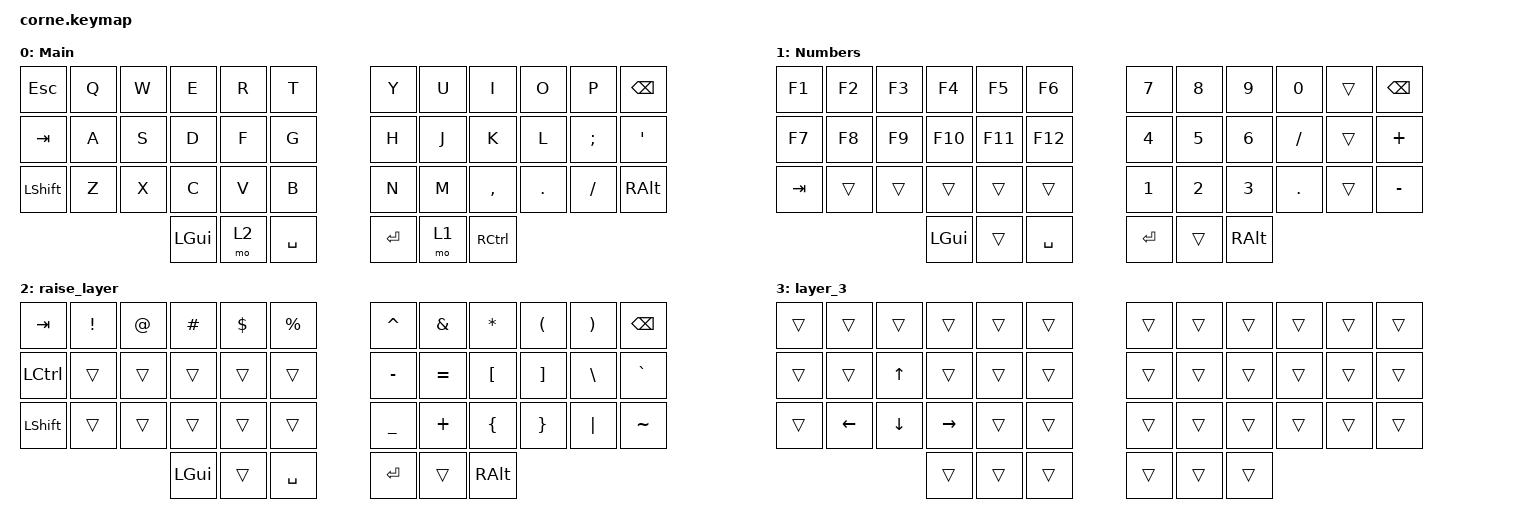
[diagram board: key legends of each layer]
/*
 * Copyright (c) 2020 The ZMK Contributors
 *
 * SPDX-License-Identifier: MIT
 */

#include <behaviors.dtsi>
#include <dt-bindings/zmk/keys.h>

/ {
    keymap {
        compatible = "zmk,keymap";

        Main {
            // -----------------------------------------------------------------------------------------
            // |  TAB |  Q  |  W  |  E  |  R  |  T  |   |  Y  |  U   |  I  |  O  |  P  | BSPC |
            // | CTRL |  A  |  S  |  D  |  F  |  G  |   |  H  |  J   |  K  |  L  |  ;  |  '   |
            // | SHFT |  Z  |  X  |  C  |  V  |  B  |   |  N  |  M   |  ,  |  .  |  /  | ESC  |
            //                    | GUI | LWR | SPC |   | ENT | RSE  | ALT |

            bindings = <
&kp ESCAPE  &kp Q  &kp W  &kp E     &kp R  &kp T        &kp Y    &kp U  &kp I              &kp O    &kp P     &kp BSPC
&kp TAB     &kp A  &kp S  &kp D     &kp F  &kp G        &kp H    &kp J  &kp K              &kp L    &kp SEMI  &kp SQT
&kp LSHFT   &kp Z  &kp X  &kp C     &kp V  &kp B        &kp N    &kp M  &kp COMMA          &kp DOT  &kp FSLH  &kp RIGHT_ALT
                          &kp LGUI  &mo 2  &kp SPACE    &kp RET  &mo 1  &kp RIGHT_CONTROL
            >;
        };

        Numbers {
            // -----------------------------------------------------------------------------------------
            // |  TAB |  1  |  2  |  3  |  4  |  5  |   |  6  |  7  |  8  |  9  |  0  | BSPC |
            // | BTCLR| BT1 | BT2 | BT3 | BT4 | BT5 |   | LFT | DWN |  UP | RGT |     |      |
            // | SHFT |     |     |     |     |     |   |     |     |     |     |     |      |
            //                    | GUI |     | SPC |   | ENT |     | ALT |

            bindings = <
&kp F1   &kp F2  &kp F3  &kp F4    &kp F5   &kp F6       &kp N7   &kp N8  &kp N9    &kp N0      &trans  &kp BSPC
&kp F7   &kp F8  &kp F9  &kp F10   &kp F11  &kp F12      &kp N4   &kp N5  &kp N6    &kp SLASH   &trans  &kp PLUS
&kp TAB  &trans  &trans  &trans    &trans   &trans       &kp N1   &kp N2  &kp N3    &kp PERIOD  &trans  &kp MINUS
                         &kp LGUI  &trans   &kp SPACE    &kp RET  &trans  &kp RALT
            >;
        };

        raise_layer {
            // -----------------------------------------------------------------------------------------
            // |  TAB |  !  |  @  |  #  |  $  |  %  |   |  ^  |  &  |  *  |  (  |  )  | BSPC |
            // | CTRL |     |     |     |     |     |   |  -  |  =  |  [  |  ]  |  \  |  `   |
            // | SHFT |     |     |     |     |     |   |  _  |  +  |  {  |  }  | "|" |  ~   |
            //                    | GUI |     | SPC |   | ENT |     | ALT |

            bindings = <
&kp TAB    &kp EXCL  &kp AT  &kp HASH  &kp DLLR  &kp PRCNT    &kp CARET  &kp AMPS   &kp ASTRK  &kp LPAR  &kp RPAR  &kp BSPC
&kp LCTRL  &trans    &trans  &trans    &trans    &trans       &kp MINUS  &kp EQUAL  &kp LBKT   &kp RBKT  &kp BSLH  &kp GRAVE
&kp LSHFT  &trans    &trans  &trans    &trans    &trans       &kp UNDER  &kp PLUS   &kp LBRC   &kp RBRC  &kp PIPE  &kp TILDE
                             &kp LGUI  &trans    &kp SPACE    &kp RET    &trans     &kp RALT
            >;
        };

        layer_3 {
            bindings = <
&trans  &trans    &trans        &trans     &trans  &trans    &trans  &trans  &trans  &trans  &trans  &trans
&trans  &trans    &kp UP_ARROW  &trans     &trans  &trans    &trans  &trans  &trans  &trans  &trans  &trans
&trans  &kp LEFT  &kp DOWN      &kp RIGHT  &trans  &trans    &trans  &trans  &trans  &trans  &trans  &trans
                                &trans     &trans  &trans    &trans  &trans  &trans
            >;
        };
    };
};
